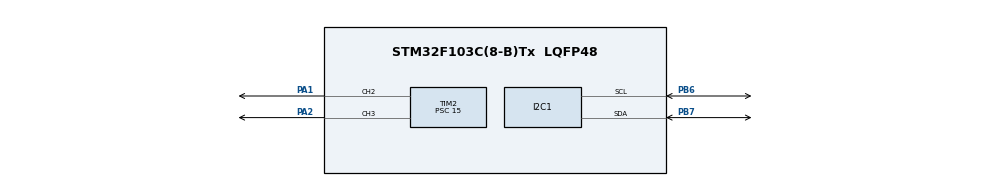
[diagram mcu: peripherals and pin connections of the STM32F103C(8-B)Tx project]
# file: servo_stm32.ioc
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Mcu.Family=STM32F1
Mcu.Name=STM32F103C(8-B)Tx
Mcu.Package=LQFP48
NVIC.PriorityGroup=NVIC_PRIORITYGROUP_4
PA1.Signal=S_TIM2_CH2
PA13.Mode=Serial_Wire
PA13.Signal=SYS_JTMS-SWDIO
PA14.Mode=Serial_Wire
PA14.Signal=SYS_JTCK-SWCLK
PA2.Signal=S_TIM2_CH3
PB6.Mode=I2C
PB6.Signal=I2C1_SCL
PB7.Mode=I2C
PB7.Signal=I2C1_SDA
PC14-OSC32_IN.Mode=LSE-External-Oscillator
PC14-OSC32_IN.Signal=RCC_OSC32_IN
PC15-OSC32_OUT.Mode=LSE-External-Oscillator
PC15-OSC32_OUT.Signal=RCC_OSC32_OUT
PD0-OSC_IN.Mode=HSE-External-Oscillator
PD0-OSC_IN.Signal=RCC_OSC_IN
PD1-OSC_OUT.Mode=HSE-External-Oscillator
PD1-OSC_OUT.Signal=RCC_OSC_OUT
ProjectManager.HeapSize=0x200
ProjectManager.StackSize=0x400
ProjectManager.TargetToolchain=STM32CubeIDE
RCC.APB1Freq_Value=8000000
RCC.APB2Freq_Value=8000000
SH.S_TIM2_CH2.0=TIM2_CH2,PWM Generation2 CH2
SH.S_TIM2_CH3.0=TIM2_CH3,PWM Generation3 CH3
TIM2.Channel-PWM\ Generation2\ CH2=TIM_CHANNEL_2
TIM2.Channel-PWM\ Generation3\ CH3=TIM_CHANNEL_3
TIM2.Period=9999
TIM2.Prescaler=15
board=custom

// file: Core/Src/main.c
/* USER CODE BEGIN Header */
/**
  ******************************************************************************
  * @file           : main.c
  * @brief          : Main program body
  ******************************************************************************
  * @attention
  *
  * Copyright (c) 2024 STMicroelectronics.
  * All rights reserved.
  *
  * This software is licensed under terms that can be found in the LICENSE file
  * in the root directory of this software component.
  * If no LICENSE file comes with this software, it is provided AS-IS.
  *
  ******************************************************************************
  */
/* USER CODE END Header */
#include "main.h"

/* USER CODE BEGIN Includes */
#include <math.h>
/* USER CODE END Includes */

/* USER CODE BEGIN PD */

#define PI 3.14159265358979
const float coxa = 2.5; // coxa length
const float femur = 8.5;// femur length
const float tibia = 12.5;// tibia length
const float xidle = 11; // x in idle state
const float yidle = 12; // y in idle state
const float zidle = 0; // z in idle state
const float R = 5; // length of 1/2 step
const float H = 5; // height of 1 step
// channel cua moi chan
const uint8_t F0 = 15,F1 = 14, F2 = 15;

const uint8_t A0 = 0, A1 = 1, A2 = 2;
const uint8_t B0 = 3, B1 = 4, B2 = 5;
const uint8_t C0 = 6, C1 = 7, C2 = 8;
const uint8_t D0 = 9, D1 = 10, D2 = 11;
const uint8_t E0 = 12, E1 = 13, E2 = 14;
/* USER CODE END PD */

I2C_HandleTypeDef hi2c1;

TIM_HandleTypeDef htim2;

void SystemClock_Config(void);
static void MX_GPIO_Init(void);
static void MX_I2C1_Init(void);
static void MX_TIM2_Init(void);

/* USER CODE BEGIN 0 */
#define PCA9685_ADDRESS 0x80
// Datasheet link --> https://cdn-shop.adafruit.com/datasheets/PCA9685.pdf
#define PCA9685_MODE1         0x0         // as in the datasheet page no 10/52
#define PCA9685_PRE_SCALE     0xFE        // as in the datasheet page no 13/52
#define PCA9685_LED0_ON_L     0x6         // as in the datasheet page no 10/52
#define PCA9685_MODE1_SLEEP_BIT      4    // as in the datasheet page no 14/52
#define PCA9685_MODE1_AI_BIT         5    // as in the datasheet page no 14/52
#define PCA9685_MODE1_RESTART_BIT    7    // as in the datasheet page no 14/52

void PCA9685_SetBit(uint8_t Register, uint8_t Bit, uint8_t Value)
{
  uint8_t readValue;
  // Read all 8 bits and set only one bit to 0/1 and write all 8 bits back
  HAL_I2C_Mem_Read(&hi2c1, PCA9685_ADDRESS, Register, 1, &readValue, 1, 10);
  if (Value == 0) readValue &= ~(1 << Bit);
  else readValue |= (1 << Bit);
  HAL_I2C_Mem_Write(&hi2c1, PCA9685_ADDRESS, Register, 1, &readValue, 1, 10);
  HAL_Delay(1);
}

void PCA9685_SetPWMFrequency(uint16_t frequency)
{
  uint8_t prescale;
  if(frequency >= 1526) prescale = 0x03;
  else if(frequency <= 24) prescale = 0xFF;
  //  internal 25 MHz oscillator as in the datasheet page no 1/52
  else prescale = 25000000 / (4096 * frequency);
  // prescale changes 3 to 255 for 1526Hz to 24Hz as in the datasheet page no 1/52
  PCA9685_SetBit(PCA9685_MODE1, PCA9685_MODE1_SLEEP_BIT, 1);
  HAL_I2C_Mem_Write(&hi2c1, PCA9685_ADDRESS, PCA9685_PRE_SCALE, 1, &prescale, 1, 10);
  PCA9685_SetBit(PCA9685_MODE1, PCA9685_MODE1_SLEEP_BIT, 0);
  PCA9685_SetBit(PCA9685_MODE1, PCA9685_MODE1_RESTART_BIT, 1);
}

void PCA9685_Init(uint16_t frequency)
{
  PCA9685_SetPWMFrequency(frequency); // 50 Hz for servo
  PCA9685_SetBit(PCA9685_MODE1, PCA9685_MODE1_AI_BIT, 1);
}

void PCA9685_SetPWM(uint8_t Channel, uint16_t OnTime, uint16_t OffTime)
{
  uint8_t registerAddress;
  uint8_t pwm[4];
  registerAddress = PCA9685_LED0_ON_L + (4 * Channel);
  // See example 1 in the datasheet page no 18/52
  pwm[0] = OnTime & 0xFF;
  pwm[1] = OnTime>>8;
  pwm[2] = OffTime & 0xFF;
  pwm[3] = OffTime>>8;
  HAL_I2C_Mem_Write(&hi2c1, PCA9685_ADDRESS, registerAddress, 1, pwm, 4, 10);
}

void PCA9685_SetServoAngle(uint8_t Channel, float Angle)
{
  float Value;
  // 50 Hz servo then 4095 Value --> 20 milliseconds
  // 0 degree --> 0.5 ms(102.4 Value) and 180 degree --> 2.5 ms(511.9 Value)
  Value = (Angle * (511.9 - 102.4) / 180.0) + 102.4;
  PCA9685_SetPWM(Channel, 0, (uint16_t)Value);
}

/* USER CODE BEGIN 0 */

uint32_t begin = 0;
void IK(float x, float y, float z, float *degY, float *degA, float *degB) {
    //
    float H = sqrt(pow(x, 2) + pow(z, 2));
    *degY = asin(z/H) * (float)(180.0 / PI);
    float h_c = H - coxa;
    float L = sqrt(pow(h_c, 2) + pow(y, 2));

    *degB = acos((pow(tibia, 2) + pow(femur, 2) - pow(L, 2)) / (2 * tibia * femur)) * (float)(180.0 / PI);
    float i = acos((pow(L, 2) + pow(femur, 2) - pow(tibia, 2)) / (2 * L * femur)) * (float)(180.0 / PI);
    float i0 = atan2(y, h_c) * (float)(180.0 / PI);  // Correct atan2 usage

    *degA = i - i0;

    *degY = *degY + 90;
    *degA = *degA + 90;
    *degB = 180 - *degB;
}

//

//
//____ attempt : 2
uint32_t deltaTime = 1800; // milisec
short callfreq = 36; // so lan goi ham set servo trong 1 chu ki
float xe = 11, ye = 12, ze = 0;
float xb = 11, yb = 12, zb = 0;
// movin func
void Moving_xz(float alpha)
{
	begin = HAL_GetTick();
	float b0=90,b1=90,b2=90;
	float e0=90,e1=90,e2=90;
	float a0 =90,a1=90,a2=90;
	float f0=90,f1=90,f2=90;
	float c0=90,c1=90,c2=90;
	float d0=90,d1=90,d2=90;
	/* Point_rotate
 	 x' = 11 - z.sin(alpha)
 	 z' = 	 z.cos(alpha)
	*/

	// GROUP 1
	yb = fmin(yidle,H*cos((2*PI/deltaTime)*HAL_GetTick() + PI/2)+yidle); // Y_g1 (B,D,F)
	zb = R*cos((2*PI/deltaTime)*HAL_GetTick()+ PI); // Z_g1 (B,D,F)
	xb = xidle - zb*sin(-alpha*(float)(PI/180.0)); // X_R (chi su dung cho B)
	// GROUP 2
	ye = fmin(yidle,H*cos((2*PI/deltaTime)*HAL_GetTick() - PI/2)+yidle); // Y_g2 (A,C,E)
	ze = R*cos((2*PI/deltaTime)*HAL_GetTick()); // Z_g2 (A,C,E)
	xe = xidle - ze*sin(alpha*(float)(PI/180.0)); // X_L (chi sung dung cho E)

	// voi (A,C,D,F phuong trinh x se dươc tinh rieng luc truyen IK de dieu chinh alpha)
	// Cac lan goi IK duoi đay doi voi chan A,C,D,F se duoc dieu chinh rieng)

	IK(xb,yb,zb*cos(-alpha*(float)(PI/180.0)),&b0,&b1,&b2);
	IK(xe,ye,ze*cos(alpha*(float)(PI/180.0)),&e0,&e1,&e2);

	IK(xidle - ze*sin((-alpha-42)*(float)(PI/180.0)), ye,ze*cos(((-alpha-42))*(float)(PI/180.0)), &a0, &a1,&a2);//fixed
	IK(xidle - ze*sin((-alpha+42)*(float)(PI/180.0)), ye,ze*cos(((-alpha+42))*(float)(PI/180.0)), &c0, &c1,&c2);//fixed

	IK(xidle - zb*sin((alpha-42)*(float)(PI/180.0)),yb,zb*cos(((alpha-42))*(float)(PI/180.0)),&f0,&f1,&f2);//fixed
	IK(xidle - zb*sin((alpha+42)*(float)(PI/180.0)),yb,zb*cos(((alpha+42))*(float)(PI/180.0)),&d0,&d1,&d2);//fixed
//	IK(-(xidle - zb*sin(-(alpha-42)*(float)(PI/180.0))), ye,ze*cos((alpha-42)*(float)(PI/180.0)), &a0, &a1,&a2);
//	IK(xidle - ze*sin((alpha-42)*(float)(PI/180.0)),yb,zb*cos((alpha)*(float)(PI/180.0)),&f0,&f1,&f2);
//	IK(-(xidle - zb*sin(-(alpha+42)*(float)(PI/180.0))), ye,ze*cos((alpha+42)*(float)(PI/180.0)), &c0, &c1,&c2);
//	IK(xidle - ze*sin((alpha+42)*(float)(PI/180.0)),yb,zb*cos((alpha+42)*(float)(PI/180.0)),&d0,&d1,&d2);
	//	IK(xb,yidle-H,zb,&b0,&b1,&b2);
//	IK(6,yidle,4,&e0,&e1,&e2);
	while(HAL_GetTick()-begin < deltaTime/callfreq)
	{
		PCA9685_SetServoAngle(E0, e0);
		PCA9685_SetServoAngle(E1, e1);
		PCA9685_SetServoAngle(E2, e2);
		PCA9685_SetServoAngle(D0, d0);
		PCA9685_SetServoAngle(D1, d1);
		PCA9685_SetServoAngle(D2, d2);
		PCA9685_SetServoAngle(C0, 180-c0);
		PCA9685_SetServoAngle(C1, 180-c1);
		PCA9685_SetServoAngle(C2, 180-c2);

		PCA9685_SetServoAngle(B0, 180-b0);
		PCA9685_SetServoAngle(B1, 180-b1);
		PCA9685_SetServoAngle(B2, 180-b2);
		PCA9685_SetServoAngle(A0, 180-a0);
		PCA9685_SetServoAngle(A1, 180-a1);
		PCA9685_SetServoAngle(A2, 180-a2);

		PCA9685_SetServoAngle(F0, f0);
		//PCA9685_SetServoAngle_1(F1, f1);
		PCA9685_SetServoAngle(0, 90);
	}
}
void L2Pos (uint8_t cxSV, uint8_t fmSV, uint8_t tbSV, float x, float y, float z)
{
	float degY,degA,degB;
	IK(x,y,z,&degY,&degA,&degB);
	begin = HAL_GetTick();
	while(HAL_GetTick()-begin < deltaTime/callfreq)
	{
		PCA9685_SetServoAngle(cxSV, degY);
		PCA9685_SetServoAngle(fmSV, degA);
		PCA9685_SetServoAngle(tbSV, degB);
	}

}
void idle()
{
	  L2Pos(D0,D1,D2,xidle,yidle,zidle);
	  L2Pos(C0,C1,C2,xidle,yidle,zidle);
	  L2Pos(A0,A1,A2,xidle,yidle,zidle);
	  L2Pos(B0,B1,B2,xidle,yidle,zidle);
	  L2Pos(E0,E1,E2,xidle,yidle,zidle);
}

//____SET UP VAR

float angle = 0;

/* USER CODE END 0 */

int main(void)
{

  /* MCU Configuration--------------------------------------------------------*/

  /* Reset of all peripherals, Initializes the Flash interface and the Systick. */
  HAL_Init();

  /* Configure the system clock */
  SystemClock_Config();

  /* Initialize all configured peripherals */
  MX_GPIO_Init();
  MX_I2C1_Init();
  MX_TIM2_Init();
  /* USER CODE BEGIN 2 */
  PCA9685_Init(50); // 50Hz for servo

  /* USER CODE END 2 */

  /* Infinite loop */
  /* USER CODE BEGIN WHILE */
  //  uint8_t ser0 = 1;
  //  uint32_t begin = HAL_GetTick();
  //  while(HAL_GetTick()-begin < delaytime)
  //  {
  //
  //  }

  // BEGIN SET UP
//  SetUpTIM();
  float setuptime = 10; // (sec)

  // BEGIN SETUP

//  while(HAL_GetTick() < setuptime*1000)
//  while(HAL_GetTick() < (setuptime)*1000)
//  {
//  	// addition setup
////	  L2Pos(A0,A1,A2,xidle,yidle,zidle);
////	  L2Pos(C0,C1,C2,xidle,yidle,zidle);
////	  L2Pos(E0,E1,E2,xidle,yidle,zidle);
////	  PCA9685_SetServoAngle(B2, 45);
////	  PCA9685_SetServoAngle(E1, 90);
////	  PCA9685_SetServoAngle(E2, 90);
//	  Moving_xz(angle);
//
//  }
//  while(HAL_GetTick() < (setuptime*2)*1000)
//  {
//  	// addition setup
////  	Moving_xz(45);
//	 idle();
//  }
//  while(HAL_GetTick() < (setuptime*3)*1000)
//  {
//  	// addition setup
////  	Moving_xz(90);
//	  PCA9685_SetServoAngle(B2, 180);
//  }
//  while(HAL_GetTick() < (setuptime*4)*1000)
//  {
//  	// addition setup
//  	Moving_xz(180);
//  }
  // END SETUP

  while (1)
  {

	  PCA9685_SetServoAngle(0, 90);
//	  idle();
    /* USER CODE END WHILE */

  }
}

void SystemClock_Config(void)
{
  RCC_OscInitTypeDef RCC_OscInitStruct = {0};
  RCC_ClkInitTypeDef RCC_ClkInitStruct = {0};

  /** Initializes the RCC Oscillators according to the specified parameters
  * in the RCC_OscInitTypeDef structure.
  */
  RCC_OscInitStruct.OscillatorType = RCC_OSCILLATORTYPE_HSI;
  RCC_OscInitStruct.HSIState = RCC_HSI_ON;
  RCC_OscInitStruct.HSICalibrationValue = RCC_HSICALIBRATION_DEFAULT;
  RCC_OscInitStruct.PLL.PLLState = RCC_PLL_NONE;
  if (HAL_RCC_OscConfig(&RCC_OscInitStruct) != HAL_OK)
  {
    Error_Handler();
  }

  /** Initializes the CPU, AHB and APB buses clocks
  */
  RCC_ClkInitStruct.ClockType = RCC_CLOCKTYPE_HCLK|RCC_CLOCKTYPE_SYSCLK
                              |RCC_CLOCKTYPE_PCLK1|RCC_CLOCKTYPE_PCLK2;
  RCC_ClkInitStruct.SYSCLKSource = RCC_SYSCLKSOURCE_HSI;
  RCC_ClkInitStruct.AHBCLKDivider = RCC_SYSCLK_DIV1;
  RCC_ClkInitStruct.APB1CLKDivider = RCC_HCLK_DIV1;
  RCC_ClkInitStruct.APB2CLKDivider = RCC_HCLK_DIV1;

  if (HAL_RCC_ClockConfig(&RCC_ClkInitStruct, FLASH_LATENCY_0) != HAL_OK)
  {
    Error_Handler();
  }
}

static void MX_I2C1_Init(void)
{

  hi2c1.Instance = I2C1;
  hi2c1.Init.ClockSpeed = 100000;
  hi2c1.Init.DutyCycle = I2C_DUTYCYCLE_2;
  hi2c1.Init.OwnAddress1 = 0;
  hi2c1.Init.AddressingMode = I2C_ADDRESSINGMODE_7BIT;
  hi2c1.Init.DualAddressMode = I2C_DUALADDRESS_DISABLE;
  hi2c1.Init.OwnAddress2 = 0;
  hi2c1.Init.GeneralCallMode = I2C_GENERALCALL_DISABLE;
  hi2c1.Init.NoStretchMode = I2C_NOSTRETCH_DISABLE;
  if (HAL_I2C_Init(&hi2c1) != HAL_OK)
  {
    Error_Handler();
  }

}

static void MX_TIM2_Init(void)
{

  TIM_MasterConfigTypeDef sMasterConfig = {0};
  TIM_OC_InitTypeDef sConfigOC = {0};

  htim2.Instance = TIM2;
  htim2.Init.Prescaler = 15;
  htim2.Init.CounterMode = TIM_COUNTERMODE_UP;
  htim2.Init.Period = 9999;
  htim2.Init.ClockDivision = TIM_CLOCKDIVISION_DIV1;
  htim2.Init.AutoReloadPreload = TIM_AUTORELOAD_PRELOAD_DISABLE;
  if (HAL_TIM_PWM_Init(&htim2) != HAL_OK)
  {
    Error_Handler();
  }
  sMasterConfig.MasterOutputTrigger = TIM_TRGO_RESET;
  sMasterConfig.MasterSlaveMode = TIM_MASTERSLAVEMODE_DISABLE;
  if (HAL_TIMEx_MasterConfigSynchronization(&htim2, &sMasterConfig) != HAL_OK)
  {
    Error_Handler();
  }
  sConfigOC.OCMode = TIM_OCMODE_PWM1;
  sConfigOC.Pulse = 0;
  sConfigOC.OCPolarity = TIM_OCPOLARITY_HIGH;
  sConfigOC.OCFastMode = TIM_OCFAST_DISABLE;
  if (HAL_TIM_PWM_ConfigChannel(&htim2, &sConfigOC, TIM_CHANNEL_2) != HAL_OK)
  {
    Error_Handler();
  }
  if (HAL_TIM_PWM_ConfigChannel(&htim2, &sConfigOC, TIM_CHANNEL_3) != HAL_OK)
  {
    Error_Handler();
  }
  HAL_TIM_MspPostInit(&htim2);

}

static void MX_GPIO_Init(void)
{

  /* GPIO Ports Clock Enable */
  __HAL_RCC_GPIOC_CLK_ENABLE();
  __HAL_RCC_GPIOD_CLK_ENABLE();
  __HAL_RCC_GPIOA_CLK_ENABLE();
  __HAL_RCC_GPIOB_CLK_ENABLE();

}

void Error_Handler(void)
{
  __disable_irq();
  while (1)
  {
  }
}
